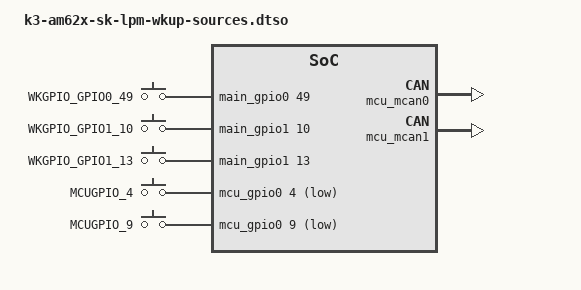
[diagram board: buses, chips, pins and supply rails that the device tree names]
// SPDX-License-Identifier: GPL-2.0
/**
 * AM62 family of devices can wakeup from Low Power Modes via
 * multiple wakeup sources. This overlay enables MAIN GPIO, MCU GPIO,
 * and MCU MCAN wakeup. WKUP UART wakeup is disabled and DSS is disabled
 * in order to allow Main GPIO and MCU GPIO wakeup.
 *
 * Copyright (C) 2023 Texas Instruments Incorporated - http://www.ti.com/
 */

/dts-v1/;
/plugin/;

#include <dt-bindings/input/input.h>
#include <dt-bindings/gpio/gpio.h>
#include <dt-bindings/interrupt-controller/irq.h>
#include <dt-bindings/interrupt-controller/arm-gic.h>

#include "k3-pinctrl.h"

&{/} {
	gpio_key {
		compatible = "gpio-keys";
		autorepeat;
		pinctrl-names = "default";
		pinctrl-0 = <&main_gpio0_pins_default>,
			    <&main_gpio1_pins_default>;

		key-gpio0-49 {
			label = "WKGPIO_GPIO0_49";
			linux,code = <KEY_WAKEUP>;
			interrupts-extended = <&main_gpio0 49 IRQ_TYPE_EDGE_RISING>,
				<&main_pmx0 0x0c8>;
			interrupt-names = "irq", "wakeup";
		};

		key-gpio1-10 {
			label = "WKGPIO_GPIO1_10";
			linux,code = <KEY_WAKEUP>;
			interrupts-extended = <&main_gpio1 10 IRQ_TYPE_EDGE_RISING>,
				<&main_pmx0 0x1a0>;
			interrupt-names = "irq", "wakeup";
		};

		key-gpio1-13 {
			label = "WKGPIO_GPIO1_13";
			linux,code = <KEY_WAKEUP>;
			interrupts-extended = <&main_gpio1 13 IRQ_TYPE_EDGE_RISING>,
				<&main_pmx0 0x1ac>;
			interrupt-names = "irq", "wakeup";
		};
	};

	mcu_gpio_key {
		compatible = "gpio-keys";
			autorepeat;
		pinctrl-names = "default";
		pinctrl-0 = <&wake_mcugpio1_pins_default>;

		key-mcu-gpio0-4 {
			label = "MCUGPIO_4";
			linux,code = <143>;
			gpios = <&mcu_gpio0 4 GPIO_ACTIVE_LOW>;
			interrupt-parent = <&mcu_gpio0>;
			interrupts = <4 IRQ_TYPE_EDGE_RISING>;
			wakeup-source;
		};

		key-mcu-gpio0-9 {
			label = "MCUGPIO_9";
			linux,code = <143>;
			interrupt-parent = <&mcu_gpio0>;
			gpios = <&mcu_gpio0 9 GPIO_ACTIVE_LOW>;
			interrupts = <9 IRQ_TYPE_EDGE_RISING>;
			wakeup-source;
		};
	};
};

&main_pmx0 {
	main_gpio0_pins_default: main-gpio0-pins-default {
		pinctrl-single,pins = <
			AM62X_IOPAD(0x0c8, PIN_INPUT_PULLUP, 7) /* (Y25) VOUT0_DATA4.GPIO0_49 */
		>;
	};

	main_gpio1_pins_default: main-gpio1-pins-default {
		pinctrl-single,pins = <
			AM62X_IOPAD(0x1a0, PIN_INPUT_PULLUP, 7) /* (E18) MCASP0_AXR0.GPIO1_10 */
			AM62X_IOPAD(0x1ac, PIN_INPUT_PULLUP, 7) /* (E19) MCASP0_AFSR.GPIO1_13 */
		>;
	};
};

&mcu_pmx0 {
	wake_mcugpio1_pins_default: wake-mcugpio1-pins-default {
		pinctrl-single,pins = <
			AM62X_MCU_IOPAD(0x0010, PIN_INPUT, 7) /* (D8) MCU_SPI0_D1.MCU_GPIO0_4 */
			AM62X_MCU_IOPAD(0x0024, PIN_INPUT, 7) /* (B4) WKUP_UART0_RXD.MCU_GPIO0_9 */
		>;
	};

	mcu_mcan0_tx_pins_default: mcu-mcan0-tx-pins-default {
		pinctrl-single,pins = <
			AM62X_IOPAD(0x034, PIN_OUTPUT, 0) /* (D6) MCU_MCAN0_TX */
		>;
	};

	mcu_mcan0_rx_pins_default: mcu-mcan0-rx-pins-default {
		pinctrl-single,pins = <
			AM62X_IOPAD(0x038, PIN_INPUT, 0) /* (B3) MCU_MCAN0_RX */
		>;
	};

	mcu_mcan0_rx_pins_wakeup: mcu-mcan0-rx-pins-wakeup {
		pinctrl-single,pins = <
			AM62X_IOPAD(0x038, PIN_INPUT | PIN_WKUP_EN, 0) /* (B3) MCU_MCAN0_RX */
		>;
	};

	mcu_mcan1_tx_pins_default: mcu-mcan1-tx-pins-default {
		pinctrl-single,pins = <
			AM62X_IOPAD(0x03c, PIN_OUTPUT, 0) /* (E5) MCU_MCAN1_TX */
		>;
	};

	mcu_mcan1_rx_pins_default: mcu-mcan1-rx-pins-default {
		pinctrl-single,pins = <
			AM62X_IOPAD(0x040, PIN_INPUT, 0) /* (D4) MCU_MCAN1_RX */
		>;
	};

	mcu_mcan1_rx_pins_wakeup: mcu-mcan1-rx-pins-wakeup {
		pinctrl-single,pins = <
			AM62X_IOPAD(0x040, PIN_INPUT | PIN_WKUP_EN, 0) /* (D4) MCU_MCAN1_RX */
		>;
	};
};

&mcu_gpio0 {
	status = "okay";
};

&mcu_gpio_intr {
	status = "okay";
};

&mcu_mcan0 {
	pinctrl-names = "default", "wakeup";
	pinctrl-0 = <&mcu_mcan0_tx_pins_default>, <&mcu_mcan0_rx_pins_default>;
	pinctrl-1 = <&mcu_mcan0_tx_pins_default>, <&mcu_mcan0_rx_pins_wakeup>;
	wakeup-source = <&system_partial_io>,
                        <&system_deep_sleep>,
                        <&system_mcu_only>,
                        <&system_standby>;
	status = "okay";
};

&mcu_mcan1 {
	pinctrl-names = "default", "wakeup";
	pinctrl-0 = <&mcu_mcan1_tx_pins_default>, <&mcu_mcan1_rx_pins_default>;
	pinctrl-1 = <&mcu_mcan1_tx_pins_default>, <&mcu_mcan1_rx_pins_wakeup>;
	wakeup-source = <&system_partial_io>,
                        <&system_deep_sleep>,
                        <&system_mcu_only>,
                        <&system_standby>;
	status = "okay";
};

&{/bus@f0000/bus@b00000/target-module@2b300050} {
	status = "disabled";
};

&{/bus@f0000/dss@30200000} {
	status = "disabled";
};
